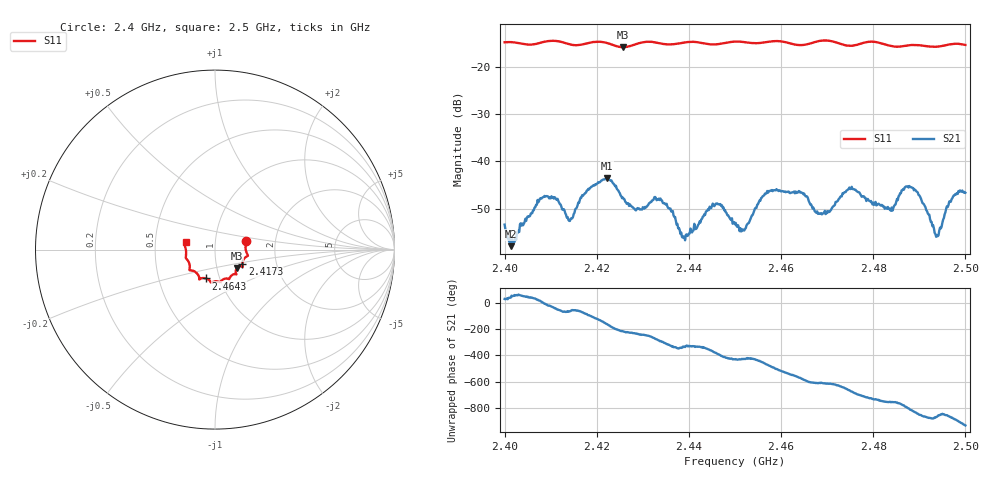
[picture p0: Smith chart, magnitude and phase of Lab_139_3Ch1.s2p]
# Hz S RI R 50
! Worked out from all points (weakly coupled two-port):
!   601 points, 2.4 GHz to 2.5 GHz, reference 50 ohm
!   highest |S21| = -43.62 dB at 2.4222 GHz (marker M1); lowest = -57.9 dB at 2.4013 GHz (marker M2)
!   lowest |S11| = -15.9 dB at 2.4257 GHz (marker M3), VSWR 1.38, Z = 62.5 - j13.1 ohm
!   |S11| at or under -10 dB: start of sweep to end of sweep
!   S12 and S22 are empty: the file has one direction only
!   S11 on the Smith chart (normalised r, x): 2.4 GHz: 1.41, +0.15; 2.4173 GHz: 1.34, -0.23; 2.4643 GHz: 0.86, -0.28; 2.5 GHz: 0.72, +0.06
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2.4e9  0.173 0.0498  0.00189 0.00102  0 0  0 0
2.401333e9  0.1751 0.0446  0.000996 0.000787  0 0  0 0
2.408167e9  0.1787 -0.0222  0.00412 0.000127  0 0  0 0
2.414167e9  0.1642 -0.0479  0.001 -0.00212  0 0  0 0
2.416667e9  0.1529 -0.0747  0.00145 -0.00387  0 0  0 0
2.417333e9  0.1523 -0.0821  0.000797 -0.00445  0 0  0 0
2.422167e9  0.1505 -0.094  -0.00626 -0.00206  0 0  0 0
2.425667e9  0.1228 -0.1024  -0.00328 0.00253  0 0  0 0
2.433333e9  0.1127 -0.1367  0.00101 0.00382  0 0  0 0
2.438667e9  0.0816 -0.1581  0.0014 0.000686  0 0  0 0
2.445667e9  0.0502 -0.1636  0.00324 -0.00115  0 0  0 0
2.45e9  0.0296 -0.1809  0.00073 -0.00203  0 0  0 0
2.451833e9  0.0237 -0.1797  0.000715 -0.00174  0 0  0 0
2.4575e9  -0.0161 -0.1823  -0.00241 -0.00419  0 0  0 0
2.464333e9  -0.0503 -0.1605  -0.00382 0.00272  0 0  0 0
2.466667e9  -0.0762 -0.1598  -0.00133 0.0031  0 0  0 0
2.475167e9  -0.1084 -0.1251  0.00351 0.00374  0 0  0 0
2.483333e9  -0.1409 -0.0894  0.00256 -0.00181  0 0  0 0
2.488333e9  -0.1614 -0.0492  -0.000631 -0.00527  0 0  0 0
2.493833e9  -0.1618 -0.00337  -0.00137 -0.00092  0 0  0 0
2.497e9  -0.1702 0.0265  -0.00358 -0.0017  0 0  0 0
2.5e9  -0.1637 0.0421  -0.00392 0.0025  0 0  0 0
